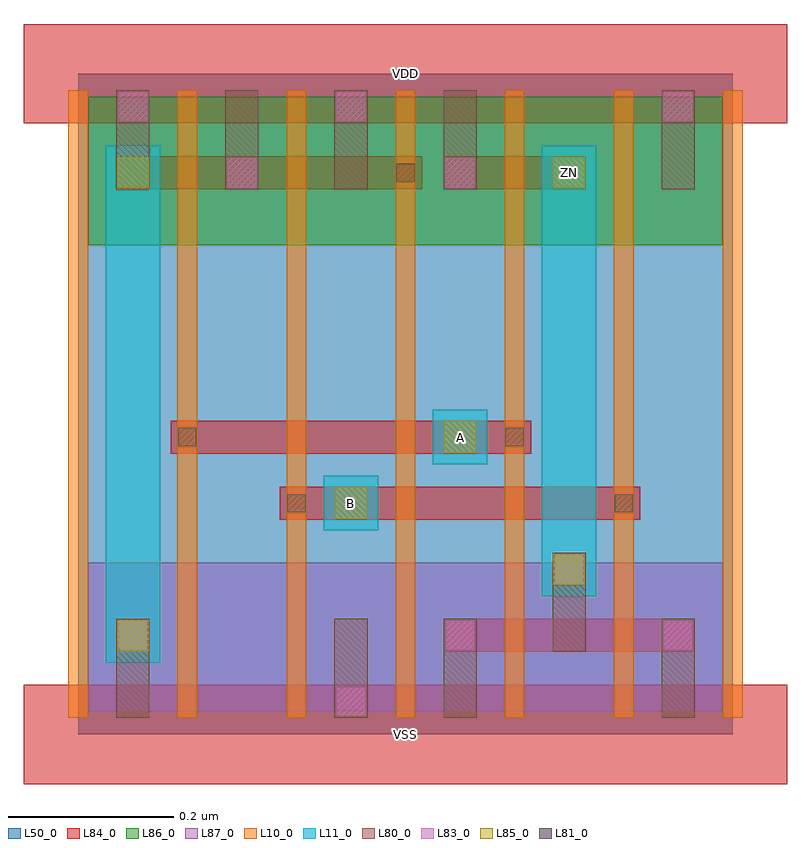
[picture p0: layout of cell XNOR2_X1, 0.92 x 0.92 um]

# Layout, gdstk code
import gdstk
lib = gdstk.Library(unit=1e-6, precision=1e-09)
def R(c, l, rs):  # rectangles x0, y0, x1, y1
    for r in rs: c.add(gdstk.rectangle(r[:2], r[2:], *l))
def A(c, l, x, y, w, h, nx, ny, dx, dy):  # array of equal rectangles
    R(c, l, [(x+i*dx, y+j*dy, x+i*dx+w, y+j*dy+h) for i in range(nx) for j in range(ny)])
L10_0 = (10, 0)
L11_0 = (11, 0)
L50_0 = (50, 0)
L80_0 = (80, 0)
L81_0 = (81, 0)
L83_0 = (83, 0)
L84_0 = (84, 0)
L85_0 = (85, 0)
L86_0 = (86, 0)
L87_0 = (87, 0)

xnor2_x1 = lib.new_cell('XNOR2_X1')
A(xnor2_x1, L10_0, -0.012, 0.02, 0.024, 0.76, 7, 1, 0.132, 0)
R(xnor2_x1, L11_0, [(0.033,0.087,0.099,0.713), (0.561,0.167,0.627,0.713), (0.297,0.247,0.363,0.313), (0.429,0.327,0.495,0.393)])
R(xnor2_x1, L50_0, [(0,0,0.792,0.8)])
A(xnor2_x1, L80_0, 0.046, 0.66, 0.04, 0.12, 4, 1, 0.132, 0)
R(xnor2_x1, L80_0, [(0.046,0.02,0.086,0.14), (0.31,0.02,0.35,0.14), (0.442,0.02,0.482,0.14), (0.706,0.02,0.746,0.14), (0.574,0.1,0.614,0.22), (0.706,0.66,0.746,0.78)])
R(xnor2_x1, L81_0, [(0.253,0.269,0.275,0.291), (0.649,0.269,0.671,0.291), (0.121,0.349,0.143,0.371), (0.517,0.349,0.539,0.371), (0.385,0.669,0.407,0.691)])
R(xnor2_x1, L83_0, [(0.312,0.022,0.348,0.058), (0.048,0.102,0.084,0.138), (0.444,0.102,0.48,0.138), (0.708,0.102,0.744,0.138), (0.576,0.182,0.612,0.218), (0.18,0.662,0.216,0.698), (0.444,0.662,0.48,0.698), (0.048,0.742,0.084,0.778), (0.312,0.742,0.348,0.778), (0.708,0.742,0.744,0.778)])
R(xnor2_x1, L84_0, [(-0.066,-0.06,0.858,0.06), (0.046,0.1,0.086,0.14), (0.442,0.1,0.746,0.14), (0.574,0.18,0.614,0.22), (0.244,0.26,0.68,0.3), (0.112,0.34,0.548,0.38), (0.046,0.66,0.416,0.7), (0.442,0.66,0.614,0.7), (-0.066,0.74,0.858,0.86)])
R(xnor2_x1, L85_0, [(0.047,0.101,0.085,0.139), (0.575,0.181,0.613,0.219), (0.311,0.261,0.349,0.299), (0.443,0.341,0.481,0.379), (0.047,0.661,0.085,0.699), (0.575,0.661,0.613,0.699)])
R(xnor2_x1, L86_0, [(0.012,0.592,0.78,0.772)])
R(xnor2_x1, L87_0, [(0.012,0.028,0.78,0.208)])
xnor2_x1.add(gdstk.Label('VDD', (0.396,0.8), layer=88, texttype=0))
xnor2_x1.add(gdstk.Label('VSS', (0.396,0), layer=88, texttype=0))
xnor2_x1.add(gdstk.Label('ZN', (0.594,0.68), layer=31, texttype=0))
xnor2_x1.add(gdstk.Label('B', (0.33,0.28), layer=31, texttype=0))
xnor2_x1.add(gdstk.Label('A', (0.462,0.36), layer=31, texttype=0))

lib.write_gds('XNOR2_X1.gds')
